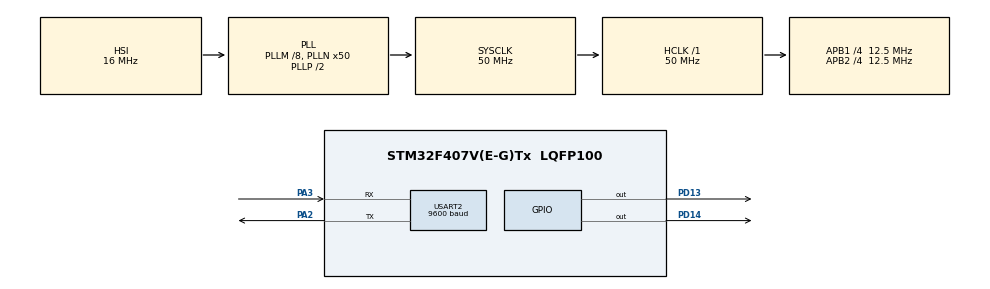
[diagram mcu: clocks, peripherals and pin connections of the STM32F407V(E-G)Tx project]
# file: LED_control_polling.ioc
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Mcu.Family=STM32F4
Mcu.Name=STM32F407V(E-G)Tx
Mcu.Package=LQFP100
NVIC.PriorityGroup=NVIC_PRIORITYGROUP_0
PA2.Mode=Asynchronous
PA2.Signal=USART2_TX
PA3.Mode=Asynchronous
PA3.Signal=USART2_RX
PD13.Signal=GPIO_Output
PD14.Signal=GPIO_Output
ProjectManager.HeapSize=0x200
ProjectManager.StackSize=0x400
ProjectManager.TargetToolchain=STM32CubeIDE
RCC.48MHZClocksFreq_Value=14285714.285714285
RCC.AHBFreq_Value=50000000
RCC.APB1CLKDivider=RCC_HCLK_DIV4
RCC.APB1Freq_Value=12500000
RCC.APB1TimFreq_Value=25000000
RCC.APB2CLKDivider=RCC_HCLK_DIV4
RCC.APB2Freq_Value=12500000
RCC.APB2TimFreq_Value=25000000
RCC.CortexFreq_Value=50000000
RCC.HCLKFreq_Value=50000000
RCC.HSE_VALUE=8000000
RCC.HSI_VALUE=16000000
RCC.PLLM=8
RCC.PLLN=50
RCC.PLLQ=7
RCC.SYSCLKFreq_VALUE=50000000
RCC.SYSCLKSource=RCC_SYSCLKSOURCE_PLLCLK
RCC.VCOOutputFreq_Value=100000000
USART2.BaudRate=9600
USART2.VirtualMode=VM_ASYNC
board=STM32F407G-DISC1

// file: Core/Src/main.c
/* USER CODE BEGIN Header */
/**
  ******************************************************************************
  * @file           : main.c
  * @brief          : Main program body
  ******************************************************************************
  * @attention
  *
  * Copyright (c) 2025 STMicroelectronics.
  * All rights reserved.
  *
  * This software is licensed under terms that can be found in the LICENSE file
  * in the root directory of this software component.
  * If no LICENSE file comes with this software, it is provided AS-IS.
  *
  ******************************************************************************
  */
/* USER CODE END Header */
#include "main.h"
#include<string.h>
/* USER CODE BEGIN Includes */
#define MAX_LEN 100
uint8_t rx_byte;
char rx_buffer[MAX_LEN];
uint16_t rx_index=0;

/* USER CODE END Includes */

UART_HandleTypeDef huart2;

void SystemClock_Config(void);
static void MX_GPIO_Init(void);
static void MX_USART2_UART_Init(void);

int main(void)
{

  /* MCU Configuration--------------------------------------------------------*/

  /* Reset of all peripherals, Initializes the Flash interface and the Systick. */
  HAL_Init();

  /* Configure the system clock */
  SystemClock_Config();

  /* Initialize all configured peripherals */
  MX_GPIO_Init();
  MX_USART2_UART_Init();

  /* Infinite loop */
  while (1)
  {
	  HAL_UART_Receive(&huart2, &rx_byte, 1, HAL_MAX_DELAY);
    /* USER CODE BEGIN 3 */
	   HAL_UART_Transmit(&huart2, &rx_byte, 1, HAL_MAX_DELAY);

	   if (rx_byte == '\r')
	  	         {
	  	             rx_buffer[rx_index] = '\0';   // terminate string
	  	             char msg[]="\r\ncammand\r\n";
	  	           HAL_UART_Transmit(&huart2, (uint8_t*)msg, strlen(msg), HAL_MAX_DELAY);

	  	             if(strcmp(rx_buffer,"LED_RED"))
	  	             {
	  	            	HAL_GPIO_WritePin(GPIOD, GPIO_PIN_14, GPIO_PIN_SET);
	  	            	 char msg[]="\r\n red led glow \r\n";
	  	            	HAL_UART_Transmit(&huart2, (uint8_t*)msg, strlen(msg), HAL_MAX_DELAY);
	  	             }else if(strcmp(rx_buffer,"LED_ORANGE"))
	  	             {
	  	            	HAL_GPIO_WritePin(GPIOD, GPIO_PIN_13, GPIO_PIN_SET);
	  	          	 char msg[]="\r\n orange led glow \r\n";
	  	          	HAL_UART_Transmit(&huart2, (uint8_t*)msg, strlen(msg), HAL_MAX_DELAY);
	  	             }
	  	             else{
	  	            	 char msg[]="\r\n invalid command\r\n";
	  	            	HAL_UART_Transmit(&huart2, (uint8_t*)msg, strlen(msg), HAL_MAX_DELAY);
	  	             }
	  	           rx_index = 0;   // reset buffer
	  	      }
  else{
	  if(rx_index < MAX_LEN - 1)
       {
           rx_buffer[rx_index++] = rx_byte;
       }
   }
    /* USER CODE BEGIN 3 */
  }
  /* USER CODE END 3 */
}

void SystemClock_Config(void)
{
  RCC_OscInitTypeDef RCC_OscInitStruct = {0};
  RCC_ClkInitTypeDef RCC_ClkInitStruct = {0};

  /** Configure the main internal regulator output voltage
  */
  __HAL_RCC_PWR_CLK_ENABLE();
  __HAL_PWR_VOLTAGESCALING_CONFIG(PWR_REGULATOR_VOLTAGE_SCALE1);

  /** Initializes the RCC Oscillators according to the specified parameters
  * in the RCC_OscInitTypeDef structure.
  */
  RCC_OscInitStruct.OscillatorType = RCC_OSCILLATORTYPE_HSI;
  RCC_OscInitStruct.HSIState = RCC_HSI_ON;
  RCC_OscInitStruct.HSICalibrationValue = RCC_HSICALIBRATION_DEFAULT;
  RCC_OscInitStruct.PLL.PLLState = RCC_PLL_ON;
  RCC_OscInitStruct.PLL.PLLSource = RCC_PLLSOURCE_HSI;
  RCC_OscInitStruct.PLL.PLLM = 8;
  RCC_OscInitStruct.PLL.PLLN = 50;
  RCC_OscInitStruct.PLL.PLLP = RCC_PLLP_DIV2;
  RCC_OscInitStruct.PLL.PLLQ = 7;
  if (HAL_RCC_OscConfig(&RCC_OscInitStruct) != HAL_OK)
  {
    Error_Handler();
  }

  /** Initializes the CPU, AHB and APB buses clocks
  */
  RCC_ClkInitStruct.ClockType = RCC_CLOCKTYPE_HCLK|RCC_CLOCKTYPE_SYSCLK
                              |RCC_CLOCKTYPE_PCLK1|RCC_CLOCKTYPE_PCLK2;
  RCC_ClkInitStruct.SYSCLKSource = RCC_SYSCLKSOURCE_PLLCLK;
  RCC_ClkInitStruct.AHBCLKDivider = RCC_SYSCLK_DIV1;
  RCC_ClkInitStruct.APB1CLKDivider = RCC_HCLK_DIV4;
  RCC_ClkInitStruct.APB2CLKDivider = RCC_HCLK_DIV4;

  if (HAL_RCC_ClockConfig(&RCC_ClkInitStruct, FLASH_LATENCY_1) != HAL_OK)
  {
    Error_Handler();
  }
}

static void MX_USART2_UART_Init(void)
{

  huart2.Instance = USART2;
  huart2.Init.BaudRate = 9600;
  huart2.Init.WordLength = UART_WORDLENGTH_8B;
  huart2.Init.StopBits = UART_STOPBITS_1;
  huart2.Init.Parity = UART_PARITY_NONE;
  huart2.Init.Mode = UART_MODE_TX_RX;
  huart2.Init.HwFlowCtl = UART_HWCONTROL_NONE;
  huart2.Init.OverSampling = UART_OVERSAMPLING_16;
  if (HAL_UART_Init(&huart2) != HAL_OK)
  {
    Error_Handler();
  }

}

static void MX_GPIO_Init(void)
{
  GPIO_InitTypeDef GPIO_InitStruct = {0};

  /* GPIO Ports Clock Enable */
  __HAL_RCC_GPIOA_CLK_ENABLE();
  __HAL_RCC_GPIOD_CLK_ENABLE();

  /*Configure GPIO pin Output Level */
  HAL_GPIO_WritePin(GPIOD, GPIO_PIN_13|GPIO_PIN_14, GPIO_PIN_RESET);

  /*Configure GPIO pins : PD13 PD14 */
  GPIO_InitStruct.Pin = GPIO_PIN_13|GPIO_PIN_14;
  GPIO_InitStruct.Mode = GPIO_MODE_OUTPUT_PP;
  GPIO_InitStruct.Pull = GPIO_NOPULL;
  GPIO_InitStruct.Speed = GPIO_SPEED_FREQ_LOW;
  HAL_GPIO_Init(GPIOD, &GPIO_InitStruct);

}

void Error_Handler(void)
{
  __disable_irq();
  while (1)
  {
  }
}
